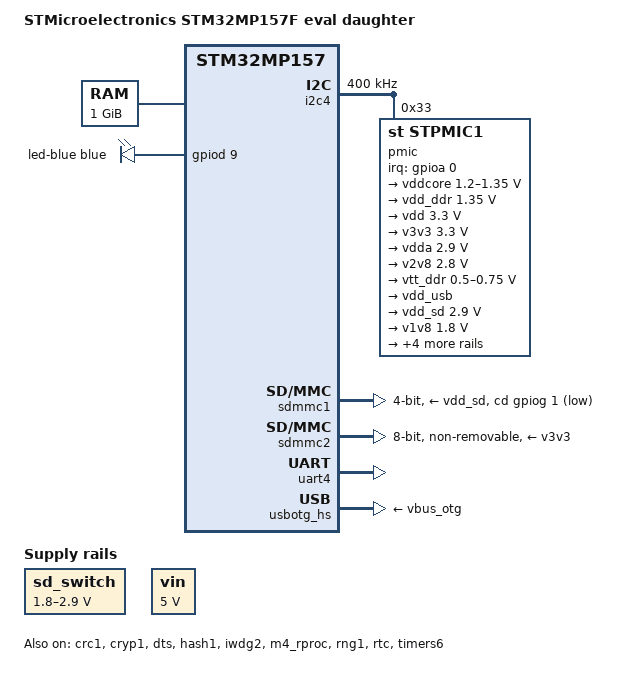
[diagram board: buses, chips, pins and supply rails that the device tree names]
// SPDX-License-Identifier: (GPL-2.0-only OR BSD-3-Clause)
/*
 * Copyright (C) STMicroelectronics 2026 - All Rights Reserved
 * Author: Amelie Delaunay <amelie.delaunay@foss.st.com> for STMicroelectronics.
 */
/dts-v1/;

#include "stm32mp157.dtsi"
#include "stm32mp15xf.dtsi"
#include "stm32mp15-pinctrl.dtsi"
#include "stm32mp15xxaa-pinctrl.dtsi"
#include "stm32mp15-scmi.dtsi"
#include <dt-bindings/gpio/gpio.h>
#include <dt-bindings/leds/common.h>
#include <dt-bindings/mfd/st,stpmic1.h>

/ {
	model = "STMicroelectronics STM32MP157F eval daughter";
	compatible = "st,stm32mp157f-ed1", "st,stm32mp157";

	aliases {
		serial0 = &uart4;
	};

	chosen {
		stdout-path = "serial0:115200n8";
	};

	memory@c0000000 {
		device_type = "memory";
		reg = <0xc0000000 0x40000000>;
	};

	reserved-memory {
		#address-cells = <1>;
		#size-cells = <1>;
		ranges;

		mcuram2: mcuram2@10000000 {
			compatible = "shared-dma-pool";
			reg = <0x10000000 0x40000>;
			no-map;
		};

		vdev0vring0: vdev0vring0@10040000 {
			compatible = "shared-dma-pool";
			reg = <0x10040000 0x1000>;
			no-map;
		};

		vdev0vring1: vdev0vring1@10041000 {
			compatible = "shared-dma-pool";
			reg = <0x10041000 0x1000>;
			no-map;
		};

		vdev0buffer: vdev0buffer@10042000 {
			compatible = "shared-dma-pool";
			reg = <0x10042000 0x4000>;
			no-map;
		};

		mcuram: mcuram@30000000 {
			compatible = "shared-dma-pool";
			reg = <0x30000000 0x40000>;
			no-map;
		};

		retram: retram@38000000 {
			compatible = "shared-dma-pool";
			reg = <0x38000000 0x10000>;
			no-map;
		};

		optee@fe000000 {
			reg = <0xfe000000 0x2000000>;
			no-map;
		};
	};

	led {
		compatible = "gpio-leds";
		led-blue {
			gpios = <&gpiod 9 GPIO_ACTIVE_HIGH>;
			linux,default-trigger = "heartbeat";
			default-state = "off";
			function = LED_FUNCTION_HEARTBEAT;
			color = <LED_COLOR_ID_BLUE>;
		};
	};

	sd_switch: regulator-sd-switch {
		compatible = "regulator-gpio";
		regulator-name = "sd_switch";
		regulator-min-microvolt = <1800000>;
		regulator-max-microvolt = <2900000>;
		regulator-type = "voltage";
		regulator-always-on;

		gpios = <&gpiof 14 GPIO_ACTIVE_HIGH>;
		gpios-states = <0>;
		states = <1800000 0x1>,
			 <2900000 0x0>;
	};

	vin: vin {
		compatible = "regulator-fixed";
		regulator-name = "vin";
		regulator-min-microvolt = <5000000>;
		regulator-max-microvolt = <5000000>;
		regulator-always-on;
	};
};

&adc {
	/* ANA0, ANA1 are dedicated pins and don't need pinctrl: only in6. */
	pinctrl-0 = <&adc1_in6_pins_a>;
	pinctrl-names = "default";
	vdd-supply = <&vdd>;
	vdda-supply = <&vdda>;
	vref-supply = <&vdda>;
	status = "disabled";
	adc1: adc@0 {
		status = "okay";
		channel@0 {
			reg = <0>;
			/* 16.5 ck_cycles sampling time */
			st,min-sample-time-ns = <400>;
		};
		channel@1 {
			reg = <1>;
			st,min-sample-time-ns = <400>;
		};
		channel@6 {
			reg = <6>;
			st,min-sample-time-ns = <400>;
		};
	};
};

&bsec {
	bootph-all;
};

&cpu0 {
	clocks = <&scmi_clk CK_SCMI_MPU>;
};

&cpu1 {
	clocks = <&scmi_clk CK_SCMI_MPU>;
};

&crc1 {
	status = "okay";
};

&cryp1 {
	clocks = <&scmi_clk CK_SCMI_CRYP1>;
	resets = <&scmi_reset RST_SCMI_CRYP1>;
	status = "okay";
};

&dac {
	pinctrl-names = "default";
	pinctrl-0 = <&dac_ch1_pins_a &dac_ch2_pins_a>;
	vref-supply = <&vdda>;
	status = "disabled";
	dac1: dac@1 {
		status = "okay";
	};
	dac2: dac@2 {
		status = "okay";
	};
};

&dsi {
	clocks = <&rcc DSI>, <&scmi_clk CK_SCMI_HSE>, <&rcc DSI_PX>;
};

&dts {
	status = "okay";
};

&etzpc {
	bootph-all;
};

&gpioa {
	bootph-all;
};

&gpiob {
	bootph-all;
};

&gpioc {
	bootph-all;
};

&gpiod {
	bootph-all;
};

&gpioe {
	bootph-all;
};

&gpiof {
	bootph-all;
};

&gpiog {
	bootph-all;
};

&gpioh {
	bootph-all;
};

&gpioi {
	bootph-all;
};

&gpioj {
	bootph-all;
};

&gpiok {
	bootph-all;
};

&gpioz {
	bootph-all;
	clocks = <&scmi_clk CK_SCMI_GPIOZ>;
};

&hash1 {
	clocks = <&scmi_clk CK_SCMI_HASH1>;
	resets = <&scmi_reset RST_SCMI_HASH1>;
	status = "okay";
};

&i2c4 {
	pinctrl-names = "default", "sleep";
	pinctrl-0 = <&i2c4_pins_a>;
	pinctrl-1 = <&i2c4_sleep_pins_a>;
	clocks = <&scmi_clk CK_SCMI_I2C4>;
	resets = <&scmi_reset RST_SCMI_I2C4>;
	i2c-scl-rising-time-ns = <185>;
	i2c-scl-falling-time-ns = <20>;
	clock-frequency = <400000>;
	bootph-all;
	status = "okay";

	/* spare dmas for other usage */
	/delete-property/dmas;
	/delete-property/dma-names;

	pmic: stpmic@33 {
		compatible = "st,stpmic1";
		reg = <0x33>;
		interrupts-extended = <&gpioa 0 IRQ_TYPE_EDGE_FALLING>;
		interrupt-controller;
		#interrupt-cells = <2>;
		bootph-all;
		status = "okay";

		regulators {
			compatible = "st,stpmic1-regulators";
			buck1-supply = <&vin>;
			buck2-supply = <&vin>;
			buck3-supply = <&vin>;
			buck4-supply = <&vin>;
			ldo1-supply = <&v3v3>;
			ldo2-supply = <&v3v3>;
			ldo3-supply = <&vdd_ddr>;
			ldo4-supply = <&vin>;
			ldo5-supply = <&v3v3>;
			ldo6-supply = <&v3v3>;
			vref_ddr-supply = <&vin>;
			boost-supply = <&vin>;
			pwr_sw1-supply = <&bst_out>;
			pwr_sw2-supply = <&bst_out>;

			vddcore: buck1 {
				regulator-name = "vddcore";
				regulator-min-microvolt = <1200000>;
				regulator-max-microvolt = <1350000>;
				regulator-always-on;
				regulator-initial-mode = <0>;
				regulator-over-current-protection;
			};

			vdd_ddr: buck2 {
				regulator-name = "vdd_ddr";
				regulator-min-microvolt = <1350000>;
				regulator-max-microvolt = <1350000>;
				regulator-always-on;
				regulator-initial-mode = <0>;
				regulator-over-current-protection;
			};

			vdd: buck3 {
				regulator-name = "vdd";
				regulator-min-microvolt = <3300000>;
				regulator-max-microvolt = <3300000>;
				regulator-always-on;
				st,mask-reset;
				regulator-initial-mode = <0>;
				regulator-over-current-protection;
			};

			v3v3: buck4 {
				regulator-name = "v3v3";
				regulator-min-microvolt = <3300000>;
				regulator-max-microvolt = <3300000>;
				regulator-always-on;
				regulator-over-current-protection;
				regulator-initial-mode = <0>;
			};

			vdda: ldo1 {
				regulator-name = "vdda";
				regulator-min-microvolt = <2900000>;
				regulator-max-microvolt = <2900000>;
				interrupts = <IT_CURLIM_LDO1 0>;
			};

			v2v8: ldo2 {
				regulator-name = "v2v8";
				regulator-min-microvolt = <2800000>;
				regulator-max-microvolt = <2800000>;
				interrupts = <IT_CURLIM_LDO2 0>;
			};

			vtt_ddr: ldo3 {
				regulator-name = "vtt_ddr";
				regulator-min-microvolt = <500000>;
				regulator-max-microvolt = <750000>;
				regulator-always-on;
				regulator-over-current-protection;
			};

			vdd_usb: ldo4 {
				regulator-name = "vdd_usb";
				interrupts = <IT_CURLIM_LDO4 0>;
			};

			vdd_sd: ldo5 {
				regulator-name = "vdd_sd";
				regulator-min-microvolt = <2900000>;
				regulator-max-microvolt = <2900000>;
				interrupts = <IT_CURLIM_LDO5 0>;
				regulator-boot-on;
			};

			v1v8: ldo6 {
				regulator-name = "v1v8";
				regulator-min-microvolt = <1800000>;
				regulator-max-microvolt = <1800000>;
				interrupts = <IT_CURLIM_LDO6 0>;
			};

			vref_ddr: vref_ddr {
				regulator-name = "vref_ddr";
				regulator-always-on;
			};

			bst_out: boost {
				regulator-name = "bst_out";
				interrupts = <IT_OCP_BOOST 0>;
			};

			vbus_otg: pwr_sw1 {
				regulator-name = "vbus_otg";
				interrupts = <IT_OCP_OTG 0>;
			};

			vbus_sw: pwr_sw2 {
				regulator-name = "vbus_sw";
				interrupts = <IT_OCP_SWOUT 0>;
				regulator-active-discharge = <1>;
			};
		};

		onkey {
			compatible = "st,stpmic1-onkey";
			interrupts = <IT_PONKEY_F 0>, <IT_PONKEY_R 0>;
			interrupt-names = "onkey-falling", "onkey-rising";
			power-off-time-sec = <10>;
			status = "okay";
		};

		watchdog {
			compatible = "st,stpmic1-wdt";
			status = "disabled";
		};
	};
};

&i2c4_pins_a {
	bootph-all;
	pins {
		bootph-all;
	};
};

&ipcc {
	status = "okay";
};

&iwdg2 {
	clocks = <&rcc IWDG2>, <&scmi_clk CK_SCMI_LSI>;
	timeout-sec = <32>;
	bootph-all;
	status = "okay";
};

&m4_rproc {
	/delete-property/ st,syscfg-holdboot;
	resets = <&scmi_reset RST_SCMI_MCU>,
		 <&scmi_reset RST_SCMI_MCU_HOLD_BOOT>;
	reset-names = "mcu_rst", "hold_boot";
	memory-region = <&retram>, <&mcuram>, <&mcuram2>, <&vdev0vring0>,
			<&vdev0vring1>, <&vdev0buffer>;
	mboxes = <&ipcc 0>, <&ipcc 1>, <&ipcc 2>, <&ipcc 3>;
	mbox-names = "vq0", "vq1", "shutdown", "detach";
	pinctrl-names = "default";
	pinctrl-0 = <&m4_leds_orange_pins_b>;
	interrupt-parent = <&exti>;
	interrupts = <68 1>;
	status = "okay";
};

&mdma1 {
	resets = <&scmi_reset RST_SCMI_MDMA>;
};

&optee {
	interrupt-parent = <&intc>;
	interrupts = <GIC_PPI 15 (GIC_CPU_MASK_SIMPLE(2) | IRQ_TYPE_LEVEL_LOW)>;
	bootph-some-ram;
};

&pinctrl {
	bootph-all;
};

&pinctrl_z {
	bootph-all;
};

&psci {
	bootph-some-ram;
};

&pwr_regulators {
	vdd-supply = <&vdd>;
	vdd_3v3_usbfs-supply = <&vdd_usb>;
	bootph-all;
};

&rcc {
	compatible = "st,stm32mp1-rcc-secure", "syscon";
	clock-names = "hse", "hsi", "csi", "lse", "lsi";
	clocks = <&scmi_clk CK_SCMI_HSE>,
		 <&scmi_clk CK_SCMI_HSI>,
		 <&scmi_clk CK_SCMI_CSI>,
		 <&scmi_clk CK_SCMI_LSE>,
		 <&scmi_clk CK_SCMI_LSI>;
	bootph-all;
};

&rng1 {
	clocks = <&scmi_clk CK_SCMI_RNG1>;
	resets = <&scmi_reset RST_SCMI_RNG1>;
	status = "okay";
};

&rtc {
	clocks = <&scmi_clk CK_SCMI_RTCAPB>, <&scmi_clk CK_SCMI_RTC>;
	status = "okay";
};

&scmi {
	bootph-some-ram;
};

&sdmmc1 {
	pinctrl-names = "default", "opendrain", "sleep";
	pinctrl-0 = <&sdmmc1_b4_pins_a &sdmmc1_dir_pins_a>;
	pinctrl-1 = <&sdmmc1_b4_od_pins_a &sdmmc1_dir_pins_a>;
	pinctrl-2 = <&sdmmc1_b4_sleep_pins_a &sdmmc1_dir_sleep_pins_a>;
	cd-gpios = <&gpiog 1 (GPIO_ACTIVE_LOW | GPIO_PULL_UP)>;
	disable-wp;
	st,sig-dir;
	st,neg-edge;
	st,use-ckin;
	bus-width = <4>;
	vmmc-supply = <&vdd_sd>;
	vqmmc-supply = <&sd_switch>;
	sd-uhs-sdr12;
	sd-uhs-sdr25;
	sd-uhs-sdr50;
	sd-uhs-ddr50;
	bootph-pre-ram;
	status = "okay";
};

&sdmmc1_b4_pins_a {
	bootph-pre-ram;
	pins1 {
		bootph-pre-ram;
	};
	pins2 {
		bootph-pre-ram;
	};
};

&sdmmc1_dir_pins_a {
	bootph-pre-ram;
	pins1 {
		bootph-pre-ram;
	};
	pins2 {
		bootph-pre-ram;
	};
};

&sdmmc2 {
	pinctrl-names = "default", "opendrain", "sleep";
	pinctrl-0 = <&sdmmc2_b4_pins_a &sdmmc2_d47_pins_a>;
	pinctrl-1 = <&sdmmc2_b4_od_pins_a &sdmmc2_d47_pins_a>;
	pinctrl-2 = <&sdmmc2_b4_sleep_pins_a &sdmmc2_d47_sleep_pins_a>;
	non-removable;
	no-sd;
	no-sdio;
	st,neg-edge;
	bus-width = <8>;
	vmmc-supply = <&v3v3>;
	vqmmc-supply = <&vdd>;
	mmc-ddr-3_3v;
	bootph-pre-ram;
	status = "okay";
};

&sdmmc2_b4_pins_a {
	bootph-pre-ram;
	pins1 {
		bootph-pre-ram;
	};
	pins2 {
		bootph-pre-ram;
	};
};

&sdmmc2_d47_pins_a {
	bootph-pre-ram;
	pins {
		bootph-pre-ram;
	};
};

&timers6 {
	status = "okay";
	/* spare dmas for other usage */
	/delete-property/dmas;
	/delete-property/dma-names;
	timer@5 {
		status = "okay";
	};
};

&uart4 {
	pinctrl-names = "default", "sleep", "idle";
	pinctrl-0 = <&uart4_pins_a>;
	pinctrl-1 = <&uart4_sleep_pins_a>;
	pinctrl-2 = <&uart4_idle_pins_a>;
	bootph-all;
	/delete-property/dmas;
	/delete-property/dma-names;
	status = "okay";
};

&uart4_pins_a {
	bootph-all;
	pins1 {
		bootph-all;
	};
	pins2 {
		bootph-all;
	};
};

&usbotg_hs {
	vbus-supply = <&vbus_otg>;
};

&usbphyc_port0 {
	phy-supply = <&vdd_usb>;
};

&usbphyc_port1 {
	phy-supply = <&vdd_usb>;
};
